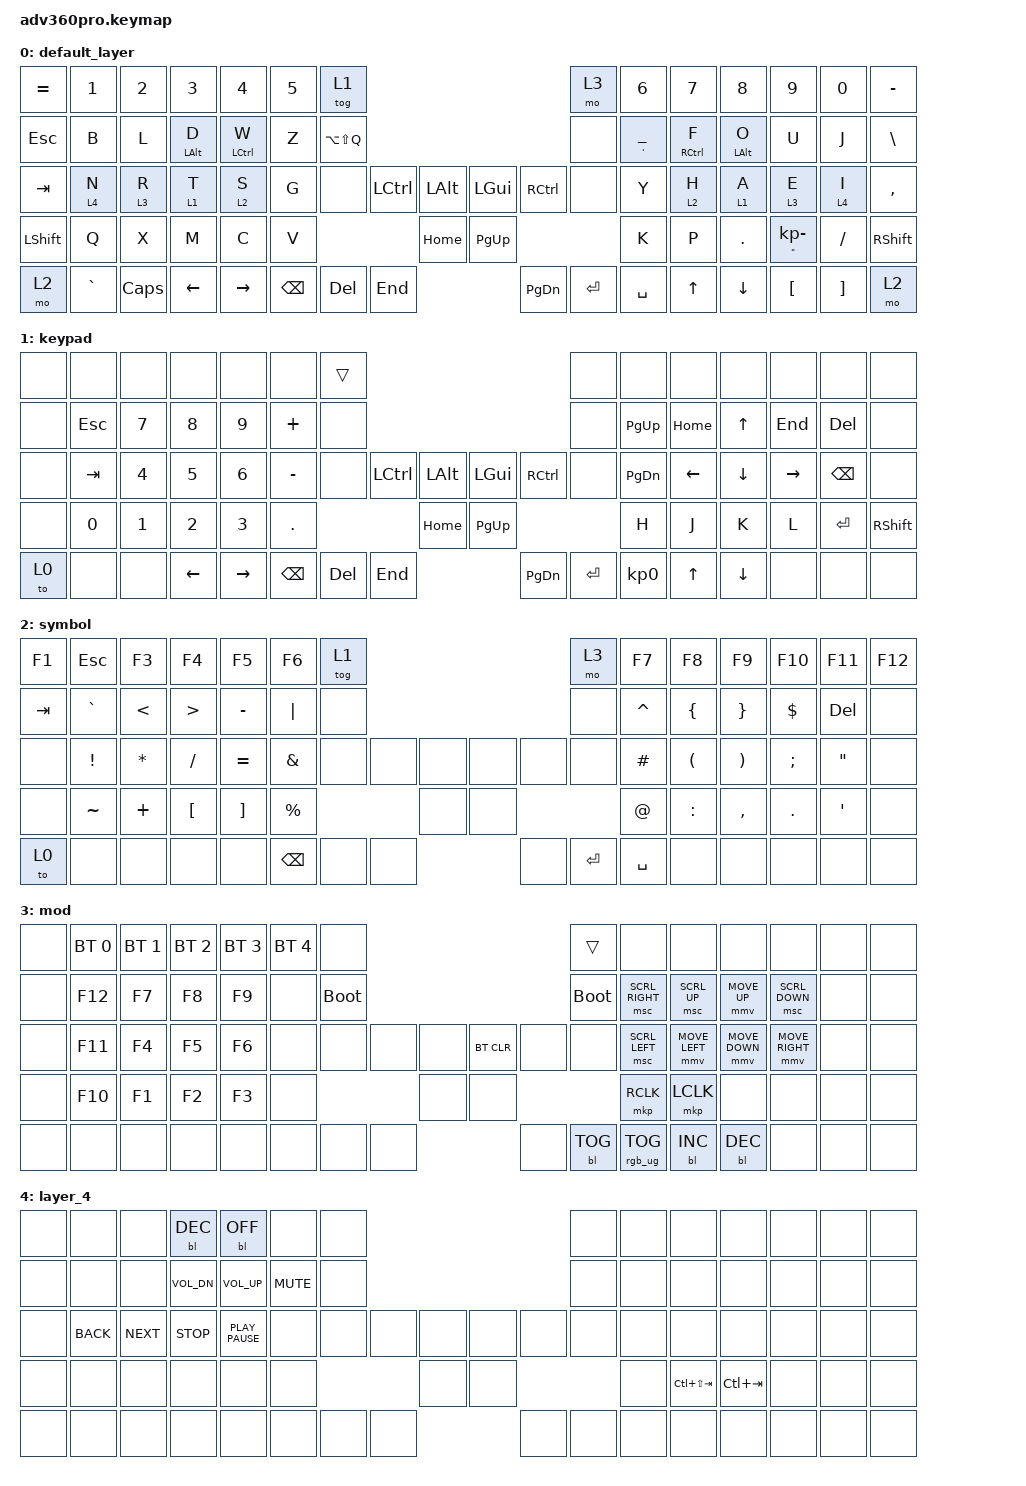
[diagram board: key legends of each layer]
#include <behaviors.dtsi>
#include <dt-bindings/zmk/backlight.h>
#include <dt-bindings/zmk/bt.h>
#include <dt-bindings/zmk/keys.h>
#include <dt-bindings/zmk/pointing.h>
#include <dt-bindings/zmk/rgb.h>

/ {
    behaviors {
        to_layer: to_layer {
            compatible = "zmk,behavior-hold-tap";
            label = "TO_LAYER";
            bindings = <&mo>, <&kp>;

            #binding-cells = <2>;
            tapping-term-ms = <400>;
            flavor = "balanced";
        };

        tap_to_hold: tap_to_hold {
            compatible = "zmk,behavior-hold-tap";
            label = "TAP_TO_HOLD";
            bindings = <&kp>, <&kp>;

            #binding-cells = <2>;
            tapping-term-ms = <400>;
        };
    };

    keymap {
        compatible = "zmk,keymap";

        default_layer {
            bindings = <
&kp EQUAL  &kp N1         &kp N2         &kp N3                   &kp N4                       &kp N5  &tog 1                                                                           &mo 3  &kp N6                              &kp N7                        &kp N8                   &kp N9                               &kp N0         &kp MINUS
&kp ESC    &kp B          &kp L          &tap_to_hold LEFT_ALT D  &tap_to_hold LEFT_CONTROL W  &kp Z   &kp LA(LS(Q))                                                                    &none  &tap_to_hold APOSTROPHE UNDERSCORE  &tap_to_hold RIGHT_CONTROL F  &tap_to_hold LEFT_ALT O  &kp U                                &kp J          &kp BSLH
&kp TAB    &to_layer 4 N  &to_layer 3 R  &to_layer 1 T            &to_layer 2 S                &kp G   &none                    &kp LCTRL  &kp LALT    &kp LGUI   &kp RCTRL             &none  &kp Y                               &to_layer 2 H                 &to_layer 1 A            &to_layer 3 E                        &to_layer 4 I  &kp COMMA
&kp LSHFT  &kp Q          &kp X          &kp M                    &kp C                        &kp V                                       &kp HOME    &kp PG_UP                               &kp K                               &kp P                         &kp PERIOD               &tap_to_hold DOUBLE_QUOTES KP_MINUS  &kp FSLH       &kp RSHFT
&mo 2      &kp GRAVE      &kp CAPS       &kp LEFT                 &kp RIGHT                                           &kp BSPC  &kp DEL    &kp END     &kp PG_DN  &kp ENTER  &kp SPACE                                             &kp UP                        &kp DOWN                 &kp LBKT                             &kp RBKT       &mo 2
            >;
        };

        keypad {
            bindings = <
&none  &none         &none         &none         &none         &none       &trans                                                                    &none  &none          &none     &none           &none      &none          &none
&none  &kp ESCAPE    &kp N7        &kp N8        &kp N9        &kp PLUS    &none                                                                     &none  &kp PG_UP      &kp HOME  &kp UP_ARROW    &kp END    &kp DELETE     &none
&none  &kp TAB       &kp NUMBER_4  &kp N5        &kp NUMBER_6  &kp MINUS   &none             &kp LCTRL  &kp LALT    &kp LGUI   &kp RCTRL             &none  &kp PAGE_DOWN  &kp LEFT  &kp DOWN_ARROW  &kp RIGHT  &kp BACKSPACE  &none
&none  &kp NUMBER_0  &kp NUMBER_1  &kp NUMBER_2  &kp NUMBER_3  &kp PERIOD                               &kp HOME    &kp PG_UP                               &kp H          &kp J     &kp K           &kp L      &kp ENTER      &kp RSHFT
&to 0  &none         &none         &kp LEFT      &kp RIGHT                         &kp BSPC  &kp DEL    &kp END     &kp PG_DN  &kp ENTER  &kp KP_N0                        &kp UP    &kp DOWN        &none      &none          &none
            >;
        };

        symbol {
            bindings = <
&kp F1   &kp ESC          &kp F3         &kp F4            &kp F5             &kp F6         &tog 1                                                              &mo 3  &kp F7       &kp F8                &kp F9                 &kp F10     &kp F11            &kp F12
&kp TAB  &kp GRAVE        &kp LESS_THAN  &kp GREATER_THAN  &kp MINUS          &kp PIPE       &none                                                               &none  &kp CARET    &kp LEFT_BRACE        &kp RIGHT_BRACE        &kp DOLLAR  &kp DELETE         &none
&none    &kp EXCLAMATION  &kp ASTERISK   &kp SLASH         &kp EQUAL          &kp AMPERSAND  &none                  &none  &none    &none  &none                 &none  &kp HASH     &kp LEFT_PARENTHESIS  &kp RIGHT_PARENTHESIS  &kp SEMI    &kp DOUBLE_QUOTES  &none
&none    &kp TILDE        &kp PLUS       &kp LEFT_BRACKET  &kp RIGHT_BRACKET  &kp PERCENT                                  &none    &none                               &kp AT_SIGN  &kp COLON             &kp COMMA              &kp PERIOD  &kp SQT            &none
&to 0    &none            &none          &none             &none                                     &kp BACKSPACE  &none  &none    &none  &kp ENTER  &kp SPACE                      &none                 &none                  &none       &none              &none
            >;
        };

        mod {
            bindings = <
&none  &bt BT_SEL 0  &bt BT_SEL 1  &bt BT_SEL 2  &bt BT_SEL 3  &bt BT_SEL 4  &none                                                                        &trans       &none            &none           &none           &none            &none  &none
&none  &kp F12       &kp F7        &kp F8        &kp F9        &none         &bootloader                                                                  &bootloader  &msc SCRL_RIGHT  &msc SCRL_UP    &mmv MOVE_UP    &msc SCRL_DOWN   &none  &none
&none  &kp F11       &kp F4        &kp F5        &kp F6        &none         &none               &none  &none    &bt BT_CLR  &none                        &none        &msc SCRL_LEFT   &mmv MOVE_LEFT  &mmv MOVE_DOWN  &mmv MOVE_RIGHT  &none  &none
&none  &kp F10       &kp F1        &kp F2        &kp F3        &none                                    &none    &none                                                 &mkp RCLK        &mkp LCLK       &none           &none            &none  &none
&none  &none         &none         &none         &none                                    &none  &none  &none    &none       &bl BL_TOG  &rgb_ug RGB_TOG                                &bl BL_INC      &bl BL_DEC      &none            &none  &none
            >;
        };

        layer_4 {
            bindings = <
&none  &none       &none       &bl BL_DEC    &bl BL_OFF        &none       &none                                              &none  &none  &none            &none        &none  &none  &none
&none  &none       &none       &kp C_VOL_DN  &kp C_VOLUME_UP   &kp K_MUTE  &none                                              &none  &none  &none            &none        &none  &none  &none
&none  &kp K_BACK  &kp K_NEXT  &kp K_STOP    &kp K_PLAY_PAUSE  &none       &none         &none  &none    &none  &none         &none  &none  &none            &none        &none  &none  &none
&none  &none       &none       &none         &none             &none                            &none    &none                       &none  &kp LC(LS(TAB))  &kp LC(TAB)  &none  &none  &none
&none  &none       &none       &none         &none                                &none  &none  &none    &none  &none  &none                &none            &none        &none  &none  &none
            >;
        };
    };
};
